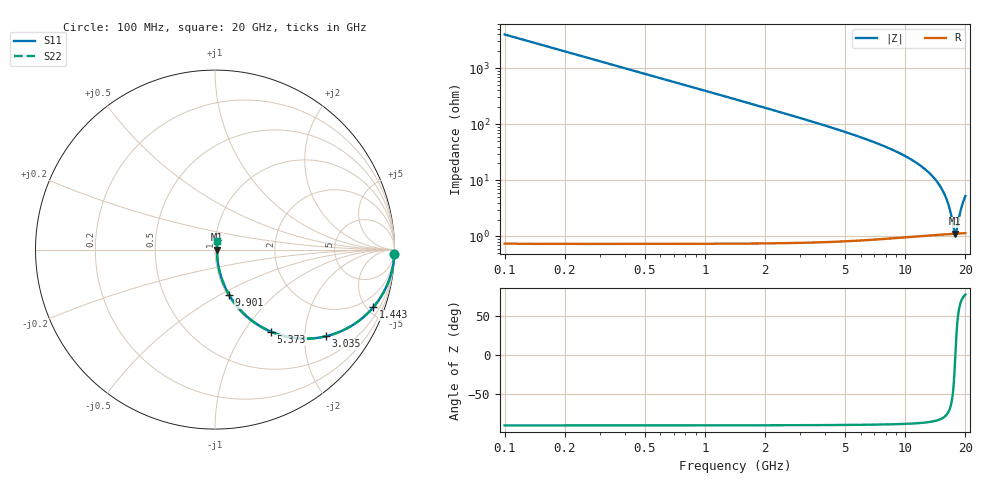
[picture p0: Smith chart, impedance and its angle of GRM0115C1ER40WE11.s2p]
!Murata Part Number: GRM0115C1ER40WE11
!These Parameters are Measured in Series Mode Connection
!Data Generated on Mar 30, 2021
!  o--ll--o
!Port1  Port2
!  o------o
!Operation Temp=25[degC], DC Bias Voltage=0[V]
!Freq. Start=100[MHz] Stop=20[GHz] 401[Steps]
# Hz S RI R 50
!Freq.(Hz) S11(Real) S11(Imag) S21(Real) S21(Imag) S12(Real) S12(Imag) S22(Real) S22(Imag)
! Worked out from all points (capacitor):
!   401 points, 100 MHz to 20 GHz, reference 50 ohm
!   read as one part in series: C = 400 fF near 199.5 MHz
!   lowest |Z| = 1.12 ohm at 17.81 GHz (marker M1)
!   series resonance near 17.82 GHz, so ESL is about 200 pH
!   S11 on the Smith chart (normalised r, x): 100 MHz: 1, -80; 1.443 GHz: 1.01, -5.48; 3.035 GHz: 1.02, -2.54; 5.373 GHz: 1.02, -1.34; 9.901 GHz: 1.02, -0.55; 20 GHz: 1.02, +0.10
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1e8  0.9994 -0.0251  0.000636 0.0251  0.000636 0.0251  0.9994 -0.0251
2.99e8  0.9943 -0.0747  0.00566 0.0747  0.00566 0.0747  0.9943 -0.0747
5.4775e8  0.9812 -0.1352  0.0188 0.1352  0.0188 0.1352  0.9812 -0.1352
9.4575e8  0.9459 -0.2254  0.0541 0.2254  0.0541 0.2254  0.9459 -0.2254
1.44325e9  0.8817 -0.3216  0.1183 0.3216  0.1183 0.3216  0.8817 -0.3216
2.13975e9  0.7695 -0.4191  0.2305 0.4191  0.2305 0.4191  0.7695 -0.4191
3.03525e9  0.6173 -0.483  0.3827 0.483  0.3827 0.483  0.6173 -0.483
3.43325e9  0.5538 -0.4936  0.4462 0.4936  0.4462 0.4936  0.5538 -0.4936
5.3735e9  0.3132 -0.4576  0.6868 0.4576  0.6868 0.4576  0.3132 -0.4576
6.7665e9  0.2053 -0.3954  0.7947 0.3954  0.7947 0.3954  0.2053 -0.3954
9.90075e9  0.0787 -0.2524  0.9213 0.2524  0.9213 0.2524  0.0787 -0.2524
1.005e10  0.0751 -0.2462  0.9249 0.2462  0.9249 0.2462  0.0751 -0.2462
1.338325e10  0.0262 -0.1241  0.9738 0.1241  0.9738 0.1241  0.0262 -0.1241
1.537325e10  0.0149 -0.0641  0.9851 0.0641  0.9851 0.0641  0.0149 -0.0641
1.61195e10  0.0128 -0.0435  0.9872 0.0435  0.9872 0.0435  0.0128 -0.0435
1.67165e10  0.0117 -0.0277  0.9883 0.0277  0.9883 0.0277  0.0117 -0.0277
1.756225e10  0.0111 -0.00634  0.9889 0.00634  0.9889 0.00634  0.0111 -0.00634
1.7811e10  0.0111 -0.00025  0.9889 0.00025  0.9889 0.00025  0.0111 -0.00025
1.805975e10  0.0111 0.00576  0.9889 -0.00576  0.9889 -0.00576  0.0111 0.00576
1.8607e10  0.0115 0.0187  0.9885 -0.0187  0.9885 -0.0187  0.0115 0.0187
1.905475e10  0.0121 0.029  0.9879 -0.029  0.9879 -0.029  0.0121 0.029
2e10  0.0139 0.0499  0.9861 -0.0499  0.9861 -0.0499  0.0139 0.0499
